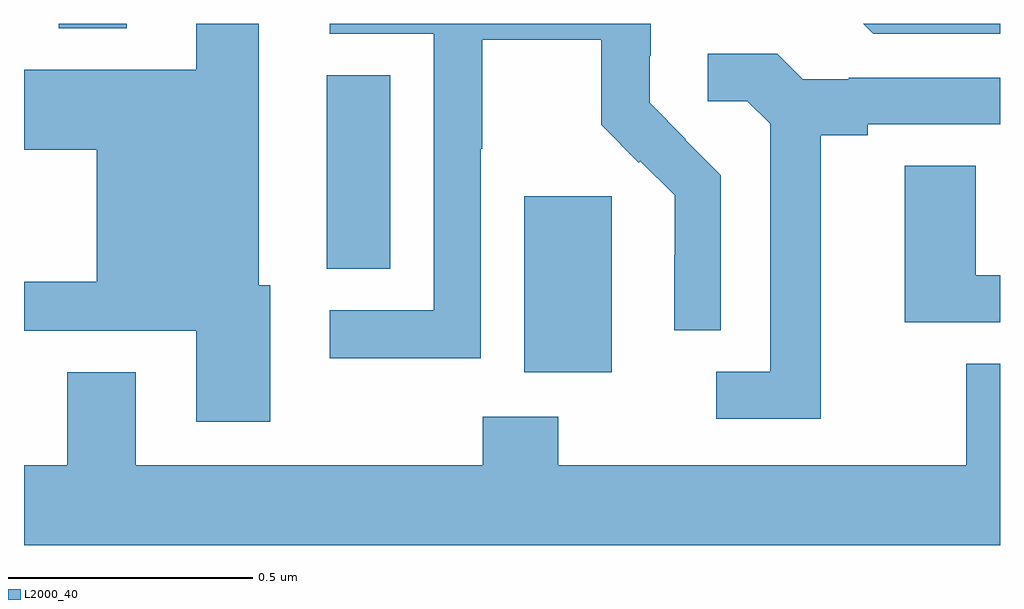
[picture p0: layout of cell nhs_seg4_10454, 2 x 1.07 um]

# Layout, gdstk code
import gdstk
lib = gdstk.Library(unit=1e-6, precision=1e-09)
def R(c, l, rs):  # rectangles x0, y0, x1, y1
    for r in rs: c.add(gdstk.rectangle(r[:2], r[2:], *l))
def P(c, l, *ps):  # polygons
    for p in ps: c.add(gdstk.Polygon(p, *l))
L2000_40 = (2000, 40)

nhs_seg4_10454 = lib.new_cell('nhs_seg4_10454')
R(nhs_seg4_10454, L2000_40, [(241.025,785.186,241.204,785.547), (240.62,785.398,240.751,785.795), (240.071,785.891,240.211,785.9)])
P(nhs_seg4_10454, L2000_40, [(240.936,785.644),(240.939,785.644),(240.939,785.868),(241.183,785.868),(241.183,785.693),(241.26,785.616),(241.263,785.619),(241.334,785.549),(241.334,785.426),(241.332,785.426),(241.332,785.272),(241.428,785.272),(241.428,785.59),(241.355,785.663),(241.356,785.664),(241.282,785.738),(241.282,785.835),(241.284,785.835),(241.284,785.9),(240.627,785.9),(240.627,785.88),(240.84,785.88),(240.84,785.313),(240.627,785.313),(240.627,785.215),(240.936,785.215)],
  [(242,785.9),(241.72,785.9),(241.74,785.88),(242,785.88)],
  [(240.505,785.364),(240.481,785.364),(240.481,785.9),(240.353,785.9),(240.353,785.806),(240,785.806),(240,785.642),(240.149,785.642),(240.149,785.372),(240,785.372),(240,785.271),(240.353,785.271),(240.353,785.085),(240.505,785.085)],
  [(241.633,785.672),(241.729,785.672),(241.729,785.694),(242,785.694),(242,785.79),(241.69,785.79),(241.69,785.787),(241.596,785.787),(241.544,785.839),(241.401,785.839),(241.401,785.742),(241.482,785.742),(241.529,785.695),(241.529,785.187),(241.419,785.187),(241.419,785.091),(241.633,785.091)],
  [(242,785.385),(241.95,785.385),(241.95,785.609),(241.805,785.609),(241.805,785.289),(242,785.289)],
  [(242,785.204),(241.931,785.204),(241.931,784.996),(241.095,784.996),(241.095,785.095),(240.94,785.095),(240.94,784.996),(240.229,784.996),(240.229,785.186),(240.089,785.186),(240.089,784.996),(240,784.996),(240,784.832),(242,784.832)])

lib.write_gds('nhs_seg4_10454.gds')
